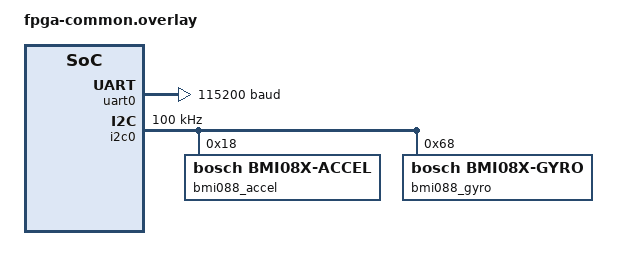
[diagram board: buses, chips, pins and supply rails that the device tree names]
/*
 * Common Zephyr corrections for the one-hart RiskyBird FPGA shells.
 *
 * The backend's chipyard_riscv64 board is intentionally generic and based on
 * an eight-hart QEMU DTS. These overrides describe the generated Rocket shells
 * without changing the backend.
 */

/ {
	chosen {
		zephyr,console = &uart0;
		zephyr,shell-uart = &uart0;
		zephyr,sram = &ram0;
	};

	aliases {
		bmi088-accel = &bmi088_accel;
		bmi088-gyro = &bmi088_gyro;
	};
};

&{/cpus/cpu@0} {
	clock-frequency = <50000000>;
};

&{/cpus/cpu@1} {
	status = "disabled";
};

&{/cpus/cpu@2} {
	status = "disabled";
};

&{/cpus/cpu@3} {
	status = "disabled";
};

&{/cpus/cpu@4} {
	status = "disabled";
};

&{/cpus/cpu@5} {
	status = "disabled";
};

&{/cpus/cpu@6} {
	status = "disabled";
};

&{/cpus/cpu@7} {
	status = "disabled";
};

&plic {
	riscv,max-priority = <3>;
	riscv,ndev = <3>;
};

&uart0 {
	status = "okay";
	current-speed = <115200>;
	interrupts = <2 1>;
};

&i2c0 {
	status = "okay";
	clock-frequency = <100000>;
	interrupts = <1 1>;

	bmi088_accel: accelerometer@18 {
		compatible = "bosch,bmi08x-accel";
		reg = <0x18>;
		accel-hz = "200";
		accel-fs = <6>;
	};

	bmi088_gyro: gyroscope@68 {
		compatible = "bosch,bmi08x-gyro";
		reg = <0x68>;
		gyro-hz = "200_64";
		gyro-fs = <1000>;
	};
};

&htif {
	status = "disabled";
};

&flash0 {
	status = "disabled";
};

&spad0 {
	status = "disabled";
};
